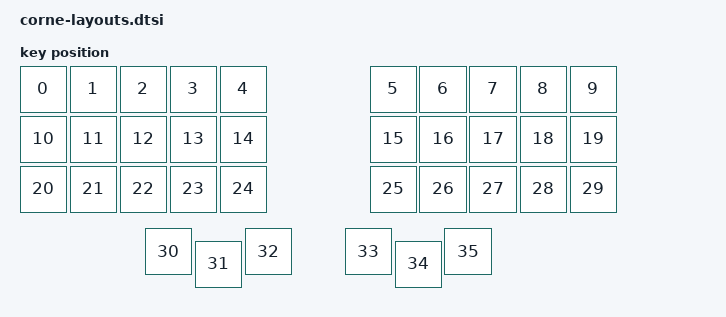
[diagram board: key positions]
#include <physical_layouts.dtsi>

/ {
    physical_layout0: physical_layout_0 {
        compatible = "zmk,physical-layout";
        display-name = "LAYOUT";

        kscan = <&kscan0>;
        transform = <&default_transform>;

        keys  //                  w    h    x    y    rot    rx    ry
            // Left hand - top row
            = <&key_physical_attrs 100 100    0    0      0     0     0>
            , <&key_physical_attrs 100 100  100    0      0     0     0>
            , <&key_physical_attrs 100 100  200    0      0     0     0>
            , <&key_physical_attrs 100 100  300    0      0     0     0>
            , <&key_physical_attrs 100 100  400    0      0     0     0>

            // Right hand - top row
            , <&key_physical_attrs 100 100  700    0      0     0     0>
            , <&key_physical_attrs 100 100  800    0      0     0     0>
            , <&key_physical_attrs 100 100  900    0      0     0     0>
            , <&key_physical_attrs 100 100 1000    0      0     0     0>
            , <&key_physical_attrs 100 100 1100    0      0     0     0>

            // Left hand - home row
            , <&key_physical_attrs 100 100    0   100      0     0     0>
            , <&key_physical_attrs 100 100  100   100      0     0     0>
            , <&key_physical_attrs 100 100  200   100      0     0     0>
            , <&key_physical_attrs 100 100  300   100      0     0     0>
            , <&key_physical_attrs 100 100  400   100      0     0     0>

            // Right hand - home row
            , <&key_physical_attrs 100 100  700   100      0     0     0>
            , <&key_physical_attrs 100 100  800   100      0     0     0>
            , <&key_physical_attrs 100 100  900   100      0     0     0>
            , <&key_physical_attrs 100 100 1000   100      0     0     0>
            , <&key_physical_attrs 100 100 1100   100      0     0     0>

            // Left hand - bottom row
            , <&key_physical_attrs 100 100    0   200      0     0     0>
            , <&key_physical_attrs 100 100  100   200      0     0     0>
            , <&key_physical_attrs 100 100  200   200      0     0     0>
            , <&key_physical_attrs 100 100  300   200      0     0     0>
            , <&key_physical_attrs 100 100  400   200      0     0     0>

            // Right hand - bottom row
            , <&key_physical_attrs 100 100  700   200      0     0     0>
            , <&key_physical_attrs 100 100  800   200      0     0     0>
            , <&key_physical_attrs 100 100  900   200      0     0     0>
            , <&key_physical_attrs 100 100 1000   200      0     0     0>
            , <&key_physical_attrs 100 100 1100   200      0     0     0>

            // Left thumb cluster
            , <&key_physical_attrs 100 100  250   325      0     0     0>
            , <&key_physical_attrs 100 100  350   350      0     0     0>
            , <&key_physical_attrs 100 100  450   325      0     0     0>

            // Right thumb cluster
            , <&key_physical_attrs 100 100  650   325      0     0     0>
            , <&key_physical_attrs 100 100  750   350      0     0     0>
            , <&key_physical_attrs 100 100  850   325      0     0     0>
            ;
    };
};
